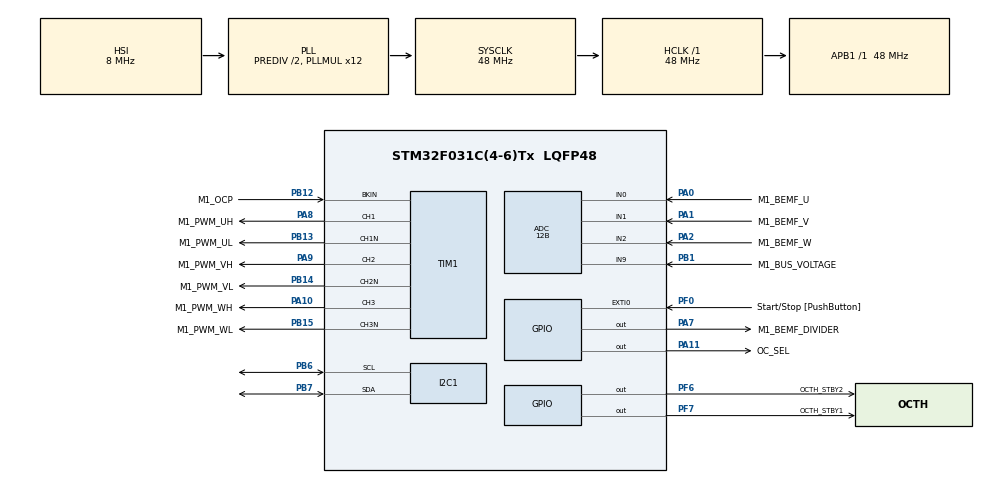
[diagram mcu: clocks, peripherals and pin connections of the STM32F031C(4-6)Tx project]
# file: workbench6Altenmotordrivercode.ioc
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ADC.ClockPrescaler=ADC_CLOCK_ASYNC_DIV1
ADC.ContinuousConvMode=DISABLE
ADC.DMAContinuousRequests=DISABLE
ADC.DataAlign=ADC_DATAALIGN_LEFT
ADC.DiscontinuousConvMode=DISABLE
ADC.EOCSelection=ADC_EOC_SINGLE_CONV
ADC.EnableAnalogWatchDog=false
ADC.ExternalTrigConv=ADC_EXTERNALTRIGCONV_T1_TRGO
ADC.ExternalTrigConvEdge=ADC_EXTERNALTRIGCONVEDGE_FALLING
ADC.LowPowerAutoPowerOff=DISABLE
ADC.LowPowerAutoWait=DISABLE
ADC.Overrun=ADC_OVR_DATA_PRESERVED
ADC.Resolution=ADC_RESOLUTION_12B
ADC.SamplingTime=ADC_SAMPLETIME_28CYCLES_5
ADC.ScanConvMode=ADC_SCAN_DIRECTION_FORWARD
Dma.ADC.0.Direction=DMA_PERIPH_TO_MEMORY
Dma.ADC.0.Instance=DMA1_Channel1
Dma.ADC.0.MemDataAlignment=DMA_MDATAALIGN_HALFWORD
Dma.ADC.0.MemInc=DMA_MINC_ENABLE
Dma.ADC.0.Mode=DMA_CIRCULAR
Dma.ADC.0.PeriphDataAlignment=DMA_PDATAALIGN_HALFWORD
Dma.ADC.0.PeriphInc=DMA_PINC_DISABLE
Dma.ADC.0.Priority=DMA_PRIORITY_HIGH
Dma.Request0=ADC
ExtraMW=MotorControl
ExtraMW.MotorControl.Config=MotorControl
ExtraMW.MotorControl.Mode=MotorControl
ExtraMW.MotorControl.Root=MCSDK_v6.2.1-Full/MotorControl
ExtraMW.MotorControl.Template=templates
I2C1.OwnAddress=0x12
Mcu.Family=STM32F0
Mcu.Name=STM32F031C(4-6)Tx
Mcu.Package=LQFP48
MotorControl.ADC_REFERENCE_VOLTAGE=3.3
MotorControl.BEMF_ADC_SAMPLING_TIME=28
MotorControl.BEMF_ADC_TRIG_TIME_DPP=921
MotorControl.BEMF_ADC_TRIG_TIME_ON_DPP=256
MotorControl.BEMF_AVERAGING_FIFO_DEPTH=8
MotorControl.BEMF_DIVIDER_AVAILABLE=true
MotorControl.BEMF_DIVIDER_GPIO_PIN=LL_GPIO_PIN_7
MotorControl.BEMF_DIVIDER_GPIO_PORT=GPIOA
MotorControl.BEMF_ON_SENSING_DIVIDER=5.545455
MotorControl.BEMF_PWM_ON_ENABLE_HYSTERESIS_DPP=51
MotorControl.BEMF_PWM_ON_ENABLE_THRES_DPP=716
MotorControl.BEMF_THRESHOLD_DOWN_ON_V=6.7
MotorControl.BEMF_THRESHOLD_DOWN_V=0.15
MotorControl.BEMF_THRESHOLD_UP_ON_V=6.7
MotorControl.BEMF_THRESHOLD_UP_V=0.15
MotorControl.BOARD=STEVAL-SPIN3202
MotorControl.BUS_VOLTAGE_READING=true
MotorControl.CCMRAM_ENABLED=false
MotorControl.CLOCK_FREQUENCY=CPU_CLK_48_MHZ
MotorControl.CLOCK_SOURCE=INTERNAL
MotorControl.CONFIG_OC_SEL=true
MotorControl.CPU_CLK_48_MHZ=true
MotorControl.CTLBOARD_NAME=STEVAL-SPIN3202
MotorControl.CUBE_MX_VER=6.4.0
MotorControl.CURR_REF_OC_SEL_GPIO_LABEL=OC_SEL
MotorControl.CURR_REF_OC_SEL_GPIO_PIN=LL_GPIO_PIN_11
MotorControl.CURR_REF_OC_SEL_GPIO_PORT=GPIOA
MotorControl.DEBUG_DAC_FUNCTIONALITY_EN=false
MotorControl.DRIVES_NUMBER_SELECTION=SINGLEDRIVE
MotorControl.DRIVE_MODE=VM
MotorControl.DRIVE_NUMBER=1
MotorControl.DRIVE_TYPE=SIX_STEP
MotorControl.EMERGENCY_STOP_GPIO_PIN=LL_GPIO_PIN_12
MotorControl.EMERGENCY_STOP_GPIO_PORT=GPIOB
MotorControl.ENCODER_AVAILABLE=false
MotorControl.ENCODER_PPR=400
MotorControl.EXT_CLOCK_FREQUENCY=INT_RC_OSC
MotorControl.FAST_DEMAG=false
MotorControl.HALL_SENSORS_AVAILABLE=false
MotorControl.HIGH_SIDE_IDLE_STATE=false
MotorControl.HWV_OCP=SingleInput_RawCurrents_Protection_IntRef
MotorControl.HWV_PWM=PoweringHighAndLowSides
MotorControl.HW_COMPLEMENTED_LOW_SIDE=false
MotorControl.HW_DEAD_TIME_NS=1000
MotorControl.INT_RC_OSC=true
MotorControl.IPs=NVIC,RCC,SYS,MotorControl,TIM1,TIM2,ADC,USART1,DMA
MotorControl.LF_TIMER_SELECTION=LF_TIM2
MotorControl.LOW_MEMORY_FOOTPRINT_REG=true
MotorControl.LOW_SIDE_IDLE_STATE=false
MotorControl.LOW_SIDE_SIGNALS_ENABLING=LS_PWM_TIMER
MotorControl.M1_AUXILIARY_SPEED_SENSOR=NONE
MotorControl.M1_BOARD_MAX_CURRENT=1.2
MotorControl.M1_BUS_VOLTAGE_READING=true
MotorControl.M1_DC_CURRENT_RS_MEAS=1.2
MotorControl.M1_DEFAULT_TARGET_SPEED_RPM=500
MotorControl.M1_DP_TOPOLOGY=NONE
MotorControl.M1_DRIVE_TYPE=SIX_STEP
MotorControl.M1_ENABLE_SL_ALGO_FROM_PHASE=4
MotorControl.M1_ENCODER_PPR=400
MotorControl.M1_HALL_PHASE_SHIFT=300
MotorControl.M1_HALL_SENSORS_PLACEMENT=DEGREES_120
MotorControl.M1_HIGH_SIDE_IDLE_STATE=false
MotorControl.M1_HW_DEAD_TIME_NS=1000
MotorControl.M1_ICL_ENABLED=false
MotorControl.M1_LDLQ_RATIO=1.000
MotorControl.M1_LOW_SIDE_IDLE_STATE=false
MotorControl.M1_LOW_SIDE_SIGNALS_ENABLING=LS_PWM_TIMER
MotorControl.M1_LS=0.000018
MotorControl.M1_MAX_APPLICATION_SPEED=15000
MotorControl.M1_MIN_APPLICATION_SPEED=0
MotorControl.M1_MOTOR_MAX_SPEED_RPM=15000
MotorControl.M1_MOTOR_NAME=Bull Running BR2804-1700
MotorControl.M1_MOTOR_RATED_FLUX=0.002799417
MotorControl.M1_MOTOR_VOLTAGE_CONSTANT=0.4
MotorControl.M1_NB_CONSECUTIVE_TESTS=10
MotorControl.M1_NOMINAL_BUS_VOLTAGE_V=12
MotorControl.M1_OBS_MINIMUM_SPEED_RPM=500
MotorControl.M1_OCP_BKIN_FILTER=3
MotorControl.M1_OCP_BKIN_MODE=EXT_MODE
MotorControl.M1_OCP_BKIN_POLARITY=EMSTOP_ACTIVE_HIGH
MotorControl.M1_OCP_DESTINATION=TIM_BKIN
MotorControl.M1_OCP_TOPOLOGY=EXTERNAL
MotorControl.M1_ON_OVER_VOLTAGE=TURN_OFF_PWM
MotorControl.M1_OVP_THRESHOLD_HIGH=14
MotorControl.M1_OV_VOLTAGE_PROT_ENABLING=true
MotorControl.M1_OV_VOLTAGE_THRESHOLD_V=14
MotorControl.M1_PHASE1_DURATION=200
MotorControl.M1_PHASE1_FINAL_SPEED_RPM=0
MotorControl.M1_PHASE1_VOLTAGE_RMS=0.54
MotorControl.M1_PHASE2_DURATION=2000
MotorControl.M1_PHASE2_FINAL_SPEED_RPM=500
MotorControl.M1_PHASE2_VOLTAGE_RMS=3.5
MotorControl.M1_PHASE3_DURATION=20000
MotorControl.M1_PHASE3_FINAL_SPEED_RPM=500
MotorControl.M1_PHASE3_VOLTAGE_RMS=3.5
MotorControl.M1_PHASE4_DURATION=4000
MotorControl.M1_PHASE4_FINAL_SPEED_RPM=500
MotorControl.M1_PHASE4_VOLTAGE_RMS=3.5
MotorControl.M1_PHASE5_DURATION=0
MotorControl.M1_PHASE5_FINAL_SPEED_RPM=500
MotorControl.M1_PHASE5_VOLTAGE_RMS=0.5
MotorControl.M1_PID_SPEED_KD_DEFAULT=0
MotorControl.M1_PID_SPEED_KI_DEFAULT=10
MotorControl.M1_PID_SPEED_KP_DEFAULT=100
MotorControl.M1_POLE_PAIR_NUM=7
MotorControl.M1_POTENTIOMETER_ENABLE=false
MotorControl.M1_POWERBOARD_NAME=STEVAL-SPIN3202
MotorControl.M1_PWM_CHARGE_BOOT_CAP_DUTY_CYCLES=0.000
MotorControl.M1_PWM_CHARGE_BOOT_CAP_MS=10
MotorControl.M1_PWM_DRIVER_PN=STSPIN32F0A
MotorControl.M1_PWM_FREQUENCY=30000
MotorControl.M1_PWM_TIMER_BRK_IRQ=TIM1_BRK_UP_TRG_COM
MotorControl.M1_PWM_TIMER_SELECTION=PWM_TIM1
MotorControl.M1_PWM_TIMER_UP_IRQ=TIM1_BRK_UP_TRG_COM
MotorControl.M1_REGULATION_EXECUTION_RATE=1
MotorControl.M1_RS=0.11
MotorControl.M1_SHARED_SIGNAL_ENABLE=false
MotorControl.M1_SPD_DIFFERENTIAL_TERM_ENABLING=false
MotorControl.M1_SPEED_BAND_LOWER_LIMIT=15
MotorControl.M1_SPEED_BAND_UPPER_LIMIT=17
MotorControl.M1_SPEED_LOOP_FREQUENCY_HZ=1000
MotorControl.M1_SPEED_SENSOR=SENSORLESS_ADC
MotorControl.M1_SP_KDDIV=16
MotorControl.M1_SP_KIDIV=16384
MotorControl.M1_SP_KPDIV=4096
MotorControl.M1_SS_MEAS_ERRORS_BEFORE_FAULTS=3
MotorControl.M1_STARTING_ANGLE_DEG=0
MotorControl.M1_SW_DEADTIME_NS=850
MotorControl.M1_TEMPERATURE_READING=false
MotorControl.M1_TRANSITION_DURATION=25
MotorControl.M1_UD_VOLTAGE_THRESHOLD_V=7
MotorControl.M1_UV_VOLTAGE_PROT_ENABLING=true
MotorControl.M1_VBUS_ADC=ADC1
MotorControl.M1_VBUS_ADC_SAMPLING_TIME=239
MotorControl.M1_VBUS_CHANNEL=ADC_CHANNEL_9
MotorControl.M1_VBUS_PARTITIONING_FACTOR=0.052164840897235255
MotorControl.MCP_ASPEP_OVER_UART=true
MotorControl.MCP_ASYNC_EN=false
MotorControl.MCP_ASYNC_OVER_ASPEP_EN=false
MotorControl.MCP_ASYNC_OVER_UART_A_EN=false
MotorControl.MCP_DMACH_RX_UART_A=3
MotorControl.MCP_DMACH_TX_UART_A=2
MotorControl.MCP_DMA_RX_UART_A=DMA1
MotorControl.MCP_DMA_TX_UART_A=DMA1
MotorControl.MCP_EN=true
MotorControl.MCP_IRQ_HANDLER_DMA_RX_UART_A=DMA1_Channel2_3_IRQHandler
MotorControl.MCP_IRQ_HANDLER_UART_A=USART1_IRQHandler
MotorControl.MCP_OVER_ASPEP_EN=true
MotorControl.MCP_OVER_STLNK_EN=false
MotorControl.MCP_OVER_UART_A_EN=true
MotorControl.MCP_OVER_UART_B_EN=false
MotorControl.MCP_RX_SYNC_PAYLOAD_MAX=128
MotorControl.MCP_TX_SYNC_PAYLOAD_MAX=128
MotorControl.MCU=STSPIN32F0A
MotorControl.MCU_FAMILY=STM32F0
MotorControl.MCU_LINE=STM32F0x1
MotorControl.MCU_NAME=STM32F031C(4-6)Tx
MotorControl.MCU_PACKAGE=LQFP48
MotorControl.MCU_TYPE=STSPIN32F0A
MotorControl.MCU_USERNAME=STM32F031C6Tx
MotorControl.MC_WORKBENCH_VERSION=6.2.1
MotorControl.MIN_DEMAG_TIME=5
MotorControl.MOTOR_TYPE=PMSM
MotorControl.OCP_INT_REF=250
MotorControl.OCTH_STBY_GPIO=true
MotorControl.ON_OVER_VOLTAGE=TURN_OFF_PWM
MotorControl.OV_VOLTAGE_PROT_ENABLING=true
MotorControl.PHASE_UH_GPIO_PIN=LL_GPIO_PIN_8
MotorControl.PHASE_UH_GPIO_PORT=GPIOA
MotorControl.PHASE_UH_POLARITY=H_ACTIVE_HIGH
MotorControl.PHASE_UL_GPIO_PIN=LL_GPIO_PIN_13
MotorControl.PHASE_UL_GPIO_PORT=GPIOB
MotorControl.PHASE_UL_POLARITY=L_ACTIVE_HIGH
MotorControl.PHASE_U_BEMF_ADC=ADC1
MotorControl.PHASE_U_BEMF_CHANNEL=ADC_CHANNEL_0
MotorControl.PHASE_U_BEMF_GPIO_PIN=LL_GPIO_PIN_0
MotorControl.PHASE_U_BEMF_GPIO_PORT=GPIOA
MotorControl.PHASE_VH_GPIO_PIN=LL_GPIO_PIN_9
MotorControl.PHASE_VH_GPIO_PORT=GPIOA
MotorControl.PHASE_VH_POLARITY=H_ACTIVE_HIGH
MotorControl.PHASE_VL_GPIO_PIN=LL_GPIO_PIN_14
MotorControl.PHASE_VL_GPIO_PORT=GPIOB
MotorControl.PHASE_VL_POLARITY=L_ACTIVE_HIGH
MotorControl.PHASE_V_BEMF_ADC=ADC1
MotorControl.PHASE_V_BEMF_CHANNEL=ADC_CHANNEL_1
MotorControl.PHASE_V_BEMF_GPIO_PIN=LL_GPIO_PIN_1
MotorControl.PHASE_V_BEMF_GPIO_PORT=GPIOA
MotorControl.PHASE_WH_GPIO_PIN=LL_GPIO_PIN_10
MotorControl.PHASE_WH_GPIO_PORT=GPIOA
MotorControl.PHASE_WH_POLARITY=H_ACTIVE_HIGH
MotorControl.PHASE_WL_GPIO_PIN=LL_GPIO_PIN_15
MotorControl.PHASE_WL_GPIO_PORT=GPIOB
MotorControl.PHASE_WL_POLARITY=L_ACTIVE_HIGH
MotorControl.PHASE_W_BEMF_ADC=ADC1
MotorControl.PHASE_W_BEMF_CHANNEL=ADC_CHANNEL_2
MotorControl.PHASE_W_BEMF_GPIO_PIN=LL_GPIO_PIN_2
MotorControl.PHASE_W_BEMF_GPIO_PORT=GPIOA
MotorControl.POTENTIOMETER_READING=false
MotorControl.PWM_FREQUENCY=30000
MotorControl.PWM_TIMER_SELECTION=PWM_TIM1
MotorControl.QUASI_SYNC=false
MotorControl.REGULATION_EXECUTION_RATE=1
MotorControl.RUN_DEMAG_TIME=20
MotorControl.R_BRAKE_SWITCH_OFF_THRES_V=11
MotorControl.SENSORLESS_ADC=true
MotorControl.SINGLEDRIVE=true
MotorControl.SPD_DIFFERENTIAL_TERM_ENABLING=false
MotorControl.SPEED_SENSOR_SELECTION=SENSORLESS_ADC
MotorControl.SPEED_THRESHOLD_DEMAG=10000
MotorControl.STARTUP_DEMAG_TIME=20
MotorControl.START_STOP_BTN=true
MotorControl.START_STOP_GPIO_PIN=LL_GPIO_PIN_0
MotorControl.START_STOP_GPIO_PORT=GPIOF
MotorControl.START_STOP_POLARITY=DIN_ACTIVE_LOW
MotorControl.START_STOP_POLARITY_EDGE=GPIO_PULLUP
MotorControl.STSPIN32F0A=true
MotorControl.SW_DEADTIME_NS=850
MotorControl.TEMPERATURE_READING=false
MotorControl.TFDIFFERENTIAL_TERM_ENABLING=false
MotorControl.USART_RX_GPIO_PIN=LL_GPIO_PIN_7
MotorControl.USART_RX_GPIO_PORT=GPIOB
MotorControl.USART_SELECTION=USE_USART1
MotorControl.USART_SELECTION_A=USART1
MotorControl.USART_SPEED=1843200
MotorControl.USART_TX_GPIO_PIN=LL_GPIO_PIN_6
MotorControl.USART_TX_GPIO_PORT=GPIOB
MotorControl.UV_VOLTAGE_PROT_ENABLING=true
MotorControl.VBUS_ADC=ADC1
MotorControl.VBUS_ADC_SAMPLING_TIME=239
MotorControl.VBUS_CHANNEL=ADC_CHANNEL_9
MotorControl.VBUS_GPIO_PIN=LL_GPIO_PIN_1
MotorControl.VBUS_GPIO_PORT=GPIOB
MotorControl.WB_UI_ENCODER_HAS_INDEX_PIN=false
MotorControl.WB_UI_FRICTION=0.437
MotorControl.WB_UI_INERTIA=0.348
MotorControl.WB_UI_MAGNETIC_STRUCTURE=SM-PMSM
MotorControl.WB_UI_MAX_CURRENT=1.2
MotorControl.WB_UI_MAX_NOMINAL_DC_VOLTAGE=12
MotorControl.WB_UI_MAX_PWMFREQUENCY=100000
MotorControl.WB_UI_MOTOR_DESCRIPTION=External rotor type - 7 poles pairs brushless - DC motor
MotorControl.WB_UI_OCP_SINGLEINPUT_INDEPENDENT_WIRES={'CURRENT_INPUT_P'\:{'ip'\:'COMP0','pin'\:'OC_Comp','peripheral'\:'COMP0_INP','help'\:'','cost'\:0}}
MotorControl.WB_UI_OCP_THRESHOLD=25
MotorControl.WB_UI_PWM_ON_SENSING=true
MotorControl.WB_UI_PW_BOARD_MAX_RATED_CURRENT=15
MotorControl.WB_UI_PW_BOARD_MAX_VOLTAGE=45
MotorControl.WB_UI_PW_BOARD_MIN_VOLTAGE=6.7
MotorControl.WB_to_Mx_template_version=23-11-20
MotorControl.WB_to_Mx_version=6.2.0
MotorControl.ZCD_TO_COMM=256
NVIC.DMA1_Channel1_IRQn=true\:1\:0\:true\:true\:false\:2\:true\:true
NVIC.EXTI0_1_IRQn=true\:3\:0\:false\:true\:false\:6\:true\:true
NVIC.I2C1_IRQn=true\:0\:0\:false\:false\:true\:true\:true
NVIC.TIM1_BRK_UP_TRG_COM_IRQn=true\:0\:0\:false\:true\:false\:5\:true\:true
NVIC.TIM2_IRQn=true\:2\:0\:true\:true\:false\:4\:true\:true
PA0.GPIO_Label=M1_BEMF_U
PA0.Mode=IN0
PA0.Signal=ADC_IN0
PA1.GPIO_Label=M1_BEMF_V
PA1.Mode=IN1
PA1.Signal=ADC_IN1
PA10.GPIO_Label=M1_PWM_WH
PA10.GPIO_PuPd=GPIO_PULLDOWN
PA10.GPIO_Speed=GPIO_SPEED_FREQ_HIGH
PA10.Signal=S_TIM1_CH3
PA11.GPIO_Label=OC_SEL
PA11.GPIO_PuPd=GPIO_PULLDOWN
PA11.PinState=GPIO_PIN_SET
PA11.Signal=GPIO_Output
PA13.GPIO_Label=TMS
PA13.Mode=Serial_Wire
PA13.Signal=SYS_SWDIO
PA14.GPIO_Label=TCK
PA14.Mode=Serial_Wire
PA14.Signal=SYS_SWCLK
PA2.GPIO_Label=M1_BEMF_W
PA2.Mode=IN2
PA2.Signal=ADC_IN2
PA7.GPIO_Label=M1_BEMF_DIVIDER
PA7.GPIO_PuPd=GPIO_PULLDOWN
PA7.PinState=GPIO_PIN_RESET
PA7.Signal=GPIO_Output
PA8.GPIO_Label=M1_PWM_UH
PA8.GPIO_PuPd=GPIO_PULLDOWN
PA8.GPIO_Speed=GPIO_SPEED_FREQ_HIGH
PA8.Signal=S_TIM1_CH1
PA9.GPIO_Label=M1_PWM_VH
PA9.GPIO_PuPd=GPIO_PULLDOWN
PA9.GPIO_Speed=GPIO_SPEED_FREQ_HIGH
PA9.Signal=S_TIM1_CH2
PB1.GPIO_Label=M1_BUS_VOLTAGE
PB1.Mode=IN9
PB1.Signal=ADC_IN9
PB12.GPIO_Label=M1_OCP
PB12.GPIO_PuPd=GPIO_PULLDOWN
PB12.Mode=Activate-Break-Input
PB12.Signal=TIM1_BKIN
PB13.GPIO_Label=M1_PWM_UL
PB13.GPIO_PuPd=GPIO_PULLDOWN
PB13.GPIO_Speed=GPIO_SPEED_FREQ_HIGH
PB13.Mode=PWM Generation1 CH1 CH1N
PB13.Signal=TIM1_CH1N
PB14.GPIO_Label=M1_PWM_VL
PB14.GPIO_PuPd=GPIO_PULLDOWN
PB14.GPIO_Speed=GPIO_SPEED_FREQ_HIGH
PB14.Mode=PWM Generation2 CH2 CH2N
PB14.Signal=TIM1_CH2N
PB15.GPIO_Label=M1_PWM_WL
PB15.GPIO_PuPd=GPIO_PULLDOWN
PB15.GPIO_Speed=GPIO_SPEED_FREQ_HIGH
PB15.Mode=PWM Generation3 CH3 CH3N
PB15.Signal=TIM1_CH3N
PB6.Mode=I2C
PB6.Signal=I2C1_SCL
PB7.Mode=I2C
PB7.Signal=I2C1_SDA
PF0-OSC_IN.GPIO_Label=Start/Stop [PushButton]
PF0-OSC_IN.GPIO_ModeDefaultEXTI=GPIO_MODE_IT_FALLING
PF0-OSC_IN.GPIO_PuPd=GPIO_PULLUP
PF0-OSC_IN.Signal=GPXTI0
PF6.GPIO_Label=OCTH_STBY2
PF6.GPIO_PuPd=GPIO_PULLDOWN
PF6.PinState=GPIO_PIN_SET
PF6.Signal=GPIO_Output
PF7.GPIO_Label=OCTH_STBY1
PF7.GPIO_PuPd=GPIO_PULLDOWN
PF7.PinState=GPIO_PIN_RESET
PF7.Signal=GPIO_Output
ProjectManager.HeapSize=0x80
ProjectManager.StackSize=0x400
ProjectManager.TargetToolchain=STM32CubeIDE
RCC.AHBFreq_Value=48000000
RCC.APB1Freq_Value=48000000
RCC.APB1TimFreq_Value=48000000
RCC.HCLKFreq_Value=48000000
RCC.PLLDivider=RCC_PREDIV_DIV2
RCC.PLLMUL=RCC_PLL_MUL12
RCC.PREFETCH_ENABLE=1
RCC.SYSCLKFreq_VALUE=48000000
RCC.SYSCLKSource=RCC_SYSCLKSOURCE_PLLCLK
SH.S_TIM1_CH1.0=TIM1_CH1,PWM Generation1 CH1 CH1N
SH.S_TIM1_CH2.0=TIM1_CH2,PWM Generation2 CH2 CH2N
SH.S_TIM1_CH3.0=TIM1_CH3,PWM Generation3 CH3 CH3N
TIM1.AutoReloadPreload=TIM_AUTORELOAD_PRELOAD_DISABLE
TIM1.AutomaticOutput=TIM_AUTOMATICOUTPUT_DISABLE
TIM1.BreakPolarity=TIM_BREAKPOLARITY_HIGH
TIM1.BreakState=TIM_BREAK_ENABLE
TIM1.Channel-PWM\ Generation1\ CH1\ CH1N=TIM_CHANNEL_1
TIM1.Channel-PWM\ Generation2\ CH2\ CH2N=TIM_CHANNEL_2
TIM1.Channel-PWM\ Generation3\ CH3\ CH3N=TIM_CHANNEL_3
TIM1.Channel-PWM\ Generation4\ No\ Output=TIM_CHANNEL_4
TIM1.ClockDivision=TIM_CLOCKDIVISION_DIV1
TIM1.CounterMode=TIM_COUNTERMODE_UP
TIM1.DeadTime=((DEAD_TIME_COUNTS) / 2)
TIM1.LockLevel=TIM_LOCKLEVEL_OFF
TIM1.OC1Preload_PWM=ENABLE
TIM1.OC2Preload_PWM=ENABLE
TIM1.OC3Preload_PWM=ENABLE
TIM1.OC4Preload_PWM=ENABLE
TIM1.OCIdleState_1=TIM_OCIDLESTATE_RESET
TIM1.OCIdleState_2=TIM_OCIDLESTATE_RESET
TIM1.OCIdleState_3=TIM_OCIDLESTATE_RESET
TIM1.OCIdleState_4=TIM_OCIDLESTATE_RESET
TIM1.OCMode_PWM-PWM\ Generation1\ CH1\ CH1N=TIM_OCMODE_PWM1
TIM1.OCMode_PWM-PWM\ Generation2\ CH2\ CH2N=TIM_OCMODE_PWM1
TIM1.OCMode_PWM-PWM\ Generation3\ CH3\ CH3N=TIM_OCMODE_PWM1
TIM1.OCMode_PWM-PWM\ Generation4\ No\ Output=TIM_OCMODE_PWM1
TIM1.OCNIdleState_1=TIM_OCNIDLESTATE_RESET
TIM1.OCNIdleState_2=TIM_OCNIDLESTATE_RESET
TIM1.OCNIdleState_3=TIM_OCNIDLESTATE_RESET
TIM1.OCNPolarity_1=TIM_OCNPOLARITY_HIGH
TIM1.OCNPolarity_2=TIM_OCNPOLARITY_HIGH
TIM1.OCNPolarity_3=TIM_OCNPOLARITY_HIGH
TIM1.OCPolarity_1=TIM_OCPOLARITY_HIGH
TIM1.OCPolarity_2=TIM_OCPOLARITY_HIGH
TIM1.OCPolarity_3=TIM_OCPOLARITY_HIGH
TIM1.OCPolarity_4=TIM_OCPOLARITY_HIGH
TIM1.OffStateIDLEMode=TIM_OSSI_ENABLE
TIM1.OffStateRunMode=TIM_OSSR_ENABLE
TIM1.Period=(PWM_PERIOD_CYCLES)
TIM1.Prescaler=((TIM_CLOCK_DIVIDER) - 1)
TIM1.RepetitionCounter=(REP_COUNTER)
TIM1.TIM_MasterOutputTrigger=TIM_TRGO_OC4REF
TIM1.TIM_MasterSlaveMode=TIM_MASTERSLAVEMODE_ENABLE
TIM2.Period=LF_TIMER_ARR
TIM2.Prescaler=LF_TIMER_PSC
TIM2.TIM_MasterOutputTrigger=TIM_TRGO_ENABLE
TIM2.TIM_MasterSlaveMode=TIM_MASTERSLAVEMODE_ENABLE
VP_MotorControl_MC_ENABLED.Mode=SixStep
VP_TIM1_VS_no_output4.Mode=PWM Generation4 No Output
VP_TIM2_VS_ClockSourceINT.Mode=Internal
board=custom

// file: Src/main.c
/* USER CODE BEGIN Header */
/**
  ******************************************************************************
  * @file           : main.c
  * @brief          : Main program body
  ******************************************************************************
  * @attention
  *
  * Copyright (c) 2024 STMicroelectronics.
  * All rights reserved.
  *
  * This software is licensed under terms that can be found in the LICENSE file
  * in the root directory of this software component.
  * If no LICENSE file comes with this software, it is provided AS-IS.
  *
  ******************************************************************************
  */
/* USER CODE END Header */
#include "main.h"

/* USER CODE BEGIN Includes */
#include <stdlib.h>
#include "register_interface.h"
#include "mc_api.h"
#include "i2c_slave.h"

/* USER CODE END Includes */

ADC_HandleTypeDef hadc;
DMA_HandleTypeDef hdma_adc;

I2C_HandleTypeDef hi2c1;

TIM_HandleTypeDef htim1;
TIM_HandleTypeDef htim2;

void SystemClock_Config(void);
static void MX_GPIO_Init(void);
static void MX_DMA_Init(void);
static void MX_ADC_Init(void);
static void MX_TIM1_Init(void);
static void MX_TIM2_Init(void);
static void MX_I2C1_Init(void);
static void MX_NVIC_Init(void);

/* USER CODE BEGIN 0 */

int i=0;

//uint32_t ADC_BUF[3];
/* USER CODE END 0 */

int main(void)
{
  /* USER CODE BEGIN 1 */
 // uint16_t timer_val;
 // uint16_t raw;
 // char msg[10];
  /* USER CODE END 1 */

  /* MCU Configuration--------------------------------------------------------*/

  /* Reset of all peripherals, Initializes the Flash interface and the Systick. */
  HAL_Init();

  /* Configure the system clock */
  SystemClock_Config();

  /* Initialize all configured peripherals */
  MX_GPIO_Init();
  MX_DMA_Init();
  MX_ADC_Init();
  MX_TIM1_Init();
  MX_TIM2_Init();
  MX_MotorControl_Init();
  MX_I2C1_Init();

  /* Initialize interrupts */
  MX_NVIC_Init();
  /* USER CODE BEGIN 2 */
  if(HAL_I2C_EnableListen_IT(&hi2c1) != HAL_OK){
  	Error_Handler();
  }

  /* USER CODE END 2 */

  /* Infinite loop */
  /* USER CODE BEGIN WHILE */

  //This function calculates takes in the speed difference between the current and set speed and by multiplying it with the maximum acceleration return the duration
  uint8_t CalcTimeSpeedRamp(uint8_t speedDiff){
	  return abs(speedDiff) * 0.5; //TODO: waarde nog te bepalen van de hoek
  }

  uint16_t mecSpeedRef =0;
  uint8_t speedValue =0;
  uint8_t timeToSpeedUp =0;
  bool is_motor_on = false;
  while (1)
  {
    /* USER CODE END WHILE */

    /* USER CODE BEGIN 3 */
	  mecSpeedRef = MC_GetMecSpeedReferenceMotor1();
	  speedValue = I2C_REGISTERS[0];
	  if(speedValue < 1){ //The master will send a zero when to motor has to stop(0 rpm) TODO: waarde nog te bepalen wat de minimum aantal rpm is in closed loop
		  if (is_motor_on) {
			  MC_StopMotor1();
			  is_motor_on = false;
		  }
	  } else { //When the value is higher than the minimum required rpm
		  timeToSpeedUp = CalcTimeSpeedRamp(mecSpeedRef-speedValue);
		  MC_ProgramSpeedRampMotor1(speedValue, timeToSpeedUp);
		  if (!is_motor_on) {
			  MC_StartMotor1();
			  is_motor_on = true;
		  }

	  }
	  SendBuffer[0] = mecSpeedRef;
  }
  /* USER CODE END 3 */
}

void SystemClock_Config(void)
{
  RCC_OscInitTypeDef RCC_OscInitStruct = {0};
  RCC_ClkInitTypeDef RCC_ClkInitStruct = {0};
  RCC_PeriphCLKInitTypeDef PeriphClkInit = {0};

  /** Initializes the RCC Oscillators according to the specified parameters
  * in the RCC_OscInitTypeDef structure.
  */
  RCC_OscInitStruct.OscillatorType = RCC_OSCILLATORTYPE_HSI|RCC_OSCILLATORTYPE_HSI14;
  RCC_OscInitStruct.HSIState = RCC_HSI_ON;
  RCC_OscInitStruct.HSI14State = RCC_HSI14_ON;
  RCC_OscInitStruct.HSICalibrationValue = RCC_HSICALIBRATION_DEFAULT;
  RCC_OscInitStruct.HSI14CalibrationValue = 16;
  RCC_OscInitStruct.PLL.PLLState = RCC_PLL_ON;
  RCC_OscInitStruct.PLL.PLLSource = RCC_PLLSOURCE_HSI;
  RCC_OscInitStruct.PLL.PLLMUL = RCC_PLL_MUL12;
  RCC_OscInitStruct.PLL.PREDIV = RCC_PREDIV_DIV2;
  if (HAL_RCC_OscConfig(&RCC_OscInitStruct) != HAL_OK)
  {
    Error_Handler();
  }
  /** Initializes the CPU, AHB and APB buses clocks
  */
  RCC_ClkInitStruct.ClockType = RCC_CLOCKTYPE_HCLK|RCC_CLOCKTYPE_SYSCLK
                              |RCC_CLOCKTYPE_PCLK1;
  RCC_ClkInitStruct.SYSCLKSource = RCC_SYSCLKSOURCE_PLLCLK;
  RCC_ClkInitStruct.AHBCLKDivider = RCC_SYSCLK_DIV1;
  RCC_ClkInitStruct.APB1CLKDivider = RCC_HCLK_DIV1;

  if (HAL_RCC_ClockConfig(&RCC_ClkInitStruct, FLASH_LATENCY_1) != HAL_OK)
  {
    Error_Handler();
  }
  PeriphClkInit.PeriphClockSelection = RCC_PERIPHCLK_I2C1;
  PeriphClkInit.I2c1ClockSelection = RCC_I2C1CLKSOURCE_HSI;
  if (HAL_RCCEx_PeriphCLKConfig(&PeriphClkInit) != HAL_OK)
  {
    Error_Handler();
  }
}

/**
  * @brief NVIC Configuration.
  * @retval None
  */
static void MX_NVIC_Init(void)
{
  /* DMA1_Channel1_IRQn interrupt configuration */
  HAL_NVIC_SetPriority(DMA1_Channel1_IRQn, 1, 0);
  HAL_NVIC_EnableIRQ(DMA1_Channel1_IRQn);
  /* TIM2_IRQn interrupt configuration */
  HAL_NVIC_SetPriority(TIM2_IRQn, 2, 0);
  HAL_NVIC_EnableIRQ(TIM2_IRQn);
  /* TIM1_BRK_UP_TRG_COM_IRQn interrupt configuration */
  HAL_NVIC_SetPriority(TIM1_BRK_UP_TRG_COM_IRQn, 0, 0);
  HAL_NVIC_EnableIRQ(TIM1_BRK_UP_TRG_COM_IRQn);
  /* EXTI0_1_IRQn interrupt configuration */
  HAL_NVIC_SetPriority(EXTI0_1_IRQn, 3, 0);
  HAL_NVIC_EnableIRQ(EXTI0_1_IRQn);
}

static void MX_ADC_Init(void)
{

  ADC_ChannelConfTypeDef sConfig = {0};

  /** Configure the global features of the ADC (Clock, Resolution, Data Alignment and number of conversion)
  */
  hadc.Instance = ADC1;
  hadc.Init.ClockPrescaler = ADC_CLOCK_ASYNC_DIV1;
  hadc.Init.Resolution = ADC_RESOLUTION_12B;
  hadc.Init.DataAlign = ADC_DATAALIGN_LEFT;
  hadc.Init.ScanConvMode = ADC_SCAN_DIRECTION_FORWARD;
  hadc.Init.EOCSelection = ADC_EOC_SINGLE_CONV;
  hadc.Init.LowPowerAutoWait = DISABLE;
  hadc.Init.LowPowerAutoPowerOff = DISABLE;
  hadc.Init.ContinuousConvMode = DISABLE;
  hadc.Init.DiscontinuousConvMode = DISABLE;
  hadc.Init.ExternalTrigConv = ADC_EXTERNALTRIGCONV_T1_TRGO;
  hadc.Init.ExternalTrigConvEdge = ADC_EXTERNALTRIGCONVEDGE_FALLING;
  hadc.Init.DMAContinuousRequests = DISABLE;
  hadc.Init.Overrun = ADC_OVR_DATA_PRESERVED;
  if (HAL_ADC_Init(&hadc) != HAL_OK)
  {
    Error_Handler();
  }
  /** Configure for the selected ADC regular channel to be converted.
  */
  sConfig.Channel = ADC_CHANNEL_0;
  sConfig.Rank = ADC_RANK_CHANNEL_NUMBER;
  sConfig.SamplingTime = ADC_SAMPLETIME_28CYCLES_5;
  if (HAL_ADC_ConfigChannel(&hadc, &sConfig) != HAL_OK)
  {
    Error_Handler();
  }
  /** Configure for the selected ADC regular channel to be converted.
  */
  sConfig.Channel = ADC_CHANNEL_1;
  if (HAL_ADC_ConfigChannel(&hadc, &sConfig) != HAL_OK)
  {
    Error_Handler();
  }
  /** Configure for the selected ADC regular channel to be converted.
  */
  sConfig.Channel = ADC_CHANNEL_2;
  if (HAL_ADC_ConfigChannel(&hadc, &sConfig) != HAL_OK)
  {
    Error_Handler();
  }
  /** Configure for the selected ADC regular channel to be converted.
  */
  sConfig.Channel = ADC_CHANNEL_9;
  if (HAL_ADC_ConfigChannel(&hadc, &sConfig) != HAL_OK)
  {
    Error_Handler();
  }

}

static void MX_I2C1_Init(void)
{

  hi2c1.Instance = I2C1;
  hi2c1.Init.Timing = 0x2000090E;
  hi2c1.Init.OwnAddress1 = 36;
  hi2c1.Init.AddressingMode = I2C_ADDRESSINGMODE_7BIT;
  hi2c1.Init.DualAddressMode = I2C_DUALADDRESS_DISABLE;
  hi2c1.Init.OwnAddress2 = 0;
  hi2c1.Init.OwnAddress2Masks = I2C_OA2_NOMASK;
  hi2c1.Init.GeneralCallMode = I2C_GENERALCALL_DISABLE;
  hi2c1.Init.NoStretchMode = I2C_NOSTRETCH_DISABLE;
  if (HAL_I2C_Init(&hi2c1) != HAL_OK)
  {
    Error_Handler();
  }
  /** Configure Analogue filter
  */
  if (HAL_I2CEx_ConfigAnalogFilter(&hi2c1, I2C_ANALOGFILTER_ENABLE) != HAL_OK)
  {
    Error_Handler();
  }
  /** Configure Digital filter
  */
  if (HAL_I2CEx_ConfigDigitalFilter(&hi2c1, 0) != HAL_OK)
  {
    Error_Handler();
  }

}

static void MX_TIM1_Init(void)
{

  TIM_MasterConfigTypeDef sMasterConfig = {0};
  TIM_OC_InitTypeDef sConfigOC = {0};
  TIM_BreakDeadTimeConfigTypeDef sBreakDeadTimeConfig = {0};

  htim1.Instance = TIM1;
  htim1.Init.Prescaler = ((TIM_CLOCK_DIVIDER) - 1);
  htim1.Init.CounterMode = TIM_COUNTERMODE_UP;
  htim1.Init.Period = (PWM_PERIOD_CYCLES);
  htim1.Init.ClockDivision = TIM_CLOCKDIVISION_DIV1;
  htim1.Init.RepetitionCounter = (REP_COUNTER);
  htim1.Init.AutoReloadPreload = TIM_AUTORELOAD_PRELOAD_DISABLE;
  if (HAL_TIM_PWM_Init(&htim1) != HAL_OK)
  {
    Error_Handler();
  }
  sMasterConfig.MasterOutputTrigger = TIM_TRGO_OC4REF;
  sMasterConfig.MasterSlaveMode = TIM_MASTERSLAVEMODE_ENABLE;
  if (HAL_TIMEx_MasterConfigSynchronization(&htim1, &sMasterConfig) != HAL_OK)
  {
    Error_Handler();
  }
  sConfigOC.OCMode = TIM_OCMODE_PWM1;
  sConfigOC.Pulse = 0;
  sConfigOC.OCPolarity = TIM_OCPOLARITY_HIGH;
  sConfigOC.OCNPolarity = TIM_OCNPOLARITY_HIGH;
  sConfigOC.OCFastMode = TIM_OCFAST_DISABLE;
  sConfigOC.OCIdleState = TIM_OCIDLESTATE_RESET;
  sConfigOC.OCNIdleState = TIM_OCNIDLESTATE_RESET;
  if (HAL_TIM_PWM_ConfigChannel(&htim1, &sConfigOC, TIM_CHANNEL_1) != HAL_OK)
  {
    Error_Handler();
  }
  if (HAL_TIM_PWM_ConfigChannel(&htim1, &sConfigOC, TIM_CHANNEL_2) != HAL_OK)
  {
    Error_Handler();
  }
  if (HAL_TIM_PWM_ConfigChannel(&htim1, &sConfigOC, TIM_CHANNEL_3) != HAL_OK)
  {
    Error_Handler();
  }
  if (HAL_TIM_PWM_ConfigChannel(&htim1, &sConfigOC, TIM_CHANNEL_4) != HAL_OK)
  {
    Error_Handler();
  }
  sBreakDeadTimeConfig.OffStateRunMode = TIM_OSSR_ENABLE;
  sBreakDeadTimeConfig.OffStateIDLEMode = TIM_OSSI_ENABLE;
  sBreakDeadTimeConfig.LockLevel = TIM_LOCKLEVEL_OFF;
  sBreakDeadTimeConfig.DeadTime = ((DEAD_TIME_COUNTS) / 2);
  sBreakDeadTimeConfig.BreakState = TIM_BREAK_ENABLE;
  sBreakDeadTimeConfig.BreakPolarity = TIM_BREAKPOLARITY_HIGH;
  sBreakDeadTimeConfig.AutomaticOutput = TIM_AUTOMATICOUTPUT_DISABLE;
  if (HAL_TIMEx_ConfigBreakDeadTime(&htim1, &sBreakDeadTimeConfig) != HAL_OK)
  {
    Error_Handler();
  }
  /* USER CODE BEGIN TIM1_Init 2 */
  //HAL_NVIC_SetPriority(TIM1_UP_TIM10_IRQn, 0, 0); //added
  //HAL_NVIC_EnableIRQ(TIM1_UP_TIM10_IRQn);//added

  /* Start TIM1 */
  //HAL_TIM_Base_Start_IT(&htim1);//added
  /* USER CODE END TIM1_Init 2 */
  HAL_TIM_MspPostInit(&htim1);

}

static void MX_TIM2_Init(void)
{

  TIM_ClockConfigTypeDef sClockSourceConfig = {0};
  TIM_MasterConfigTypeDef sMasterConfig = {0};

  htim2.Instance = TIM2;
  htim2.Init.Prescaler = LF_TIMER_PSC;
  htim2.Init.CounterMode = TIM_COUNTERMODE_UP;
  htim2.Init.Period = LF_TIMER_ARR;
  htim2.Init.ClockDivision = TIM_CLOCKDIVISION_DIV1;
  htim2.Init.AutoReloadPreload = TIM_AUTORELOAD_PRELOAD_DISABLE;
  if (HAL_TIM_Base_Init(&htim2) != HAL_OK)
  {
    Error_Handler();
  }
  sClockSourceConfig.ClockSource = TIM_CLOCKSOURCE_INTERNAL;
  if (HAL_TIM_ConfigClockSource(&htim2, &sClockSourceConfig) != HAL_OK)
  {
    Error_Handler();
  }
  sMasterConfig.MasterOutputTrigger = TIM_TRGO_ENABLE;
  sMasterConfig.MasterSlaveMode = TIM_MASTERSLAVEMODE_ENABLE;
  if (HAL_TIMEx_MasterConfigSynchronization(&htim2, &sMasterConfig) != HAL_OK)
  {
    Error_Handler();
  }

}

static void MX_DMA_Init(void)
{

  /* DMA controller clock enable */
  __HAL_RCC_DMA1_CLK_ENABLE();

}

static void MX_GPIO_Init(void)
{
  GPIO_InitTypeDef GPIO_InitStruct = {0};

  /* GPIO Ports Clock Enable */
  __HAL_RCC_GPIOF_CLK_ENABLE();
  __HAL_RCC_GPIOA_CLK_ENABLE();
  __HAL_RCC_GPIOB_CLK_ENABLE();

  /*Configure GPIO pin Output Level */
  HAL_GPIO_WritePin(M1_BEMF_DIVIDER_GPIO_Port, M1_BEMF_DIVIDER_Pin, GPIO_PIN_RESET);

  /*Configure GPIO pin Output Level */
  HAL_GPIO_WritePin(OC_SEL_GPIO_Port, OC_SEL_Pin, GPIO_PIN_SET);

  /*Configure GPIO pin Output Level */
  HAL_GPIO_WritePin(OCTH_STBY2_GPIO_Port, OCTH_STBY2_Pin, GPIO_PIN_SET);

  /*Configure GPIO pin Output Level */
  HAL_GPIO_WritePin(OCTH_STBY1_GPIO_Port, OCTH_STBY1_Pin, GPIO_PIN_RESET);

  /*Configure GPIO pin : Start_Stop_Pin */
  GPIO_InitStruct.Pin = Start_Stop_Pin;
  GPIO_InitStruct.Mode = GPIO_MODE_IT_FALLING;
  GPIO_InitStruct.Pull = GPIO_PULLUP;
  HAL_GPIO_Init(Start_Stop_GPIO_Port, &GPIO_InitStruct);

  /*Configure GPIO pins : M1_BEMF_DIVIDER_Pin OC_SEL_Pin */
  GPIO_InitStruct.Pin = M1_BEMF_DIVIDER_Pin|OC_SEL_Pin;
  GPIO_InitStruct.Mode = GPIO_MODE_OUTPUT_PP;
  GPIO_InitStruct.Pull = GPIO_PULLDOWN;
  GPIO_InitStruct.Speed = GPIO_SPEED_FREQ_LOW;
  HAL_GPIO_Init(GPIOA, &GPIO_InitStruct);

  /*Configure GPIO pins : OCTH_STBY2_Pin OCTH_STBY1_Pin */
  GPIO_InitStruct.Pin = OCTH_STBY2_Pin|OCTH_STBY1_Pin;
  GPIO_InitStruct.Mode = GPIO_MODE_OUTPUT_PP;
  GPIO_InitStruct.Pull = GPIO_PULLDOWN;
  GPIO_InitStruct.Speed = GPIO_SPEED_FREQ_LOW;
  HAL_GPIO_Init(GPIOF, &GPIO_InitStruct);

}

/* USER CODE BEGIN 4 */
void HAL_TIM_PeriodElapsedCallback(TIM_HandleTypeDef *htim)
{

	//Check which timer triggerd this interrupt
	if (htim == &htim2){

	}

}

/* USER CODE END 4 */

void Error_Handler(void)
{
  __disable_irq();
  while (1)
  {
  }
}
